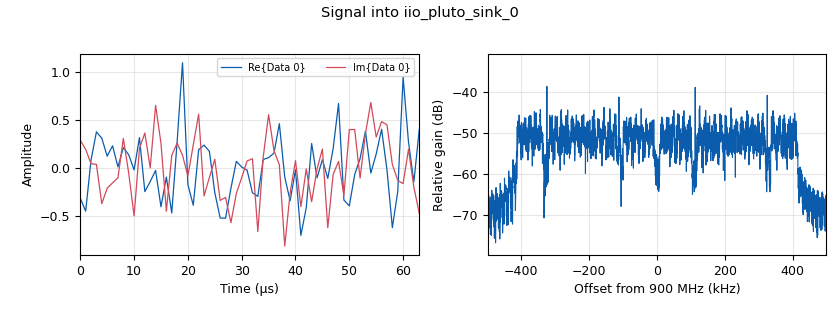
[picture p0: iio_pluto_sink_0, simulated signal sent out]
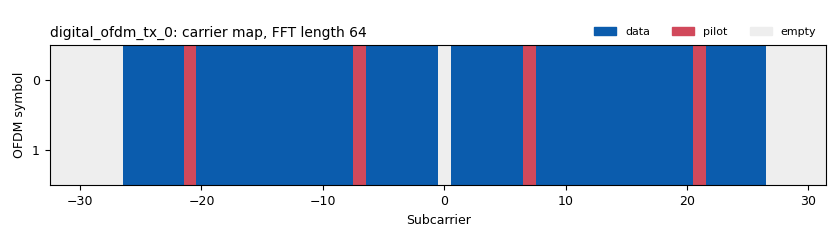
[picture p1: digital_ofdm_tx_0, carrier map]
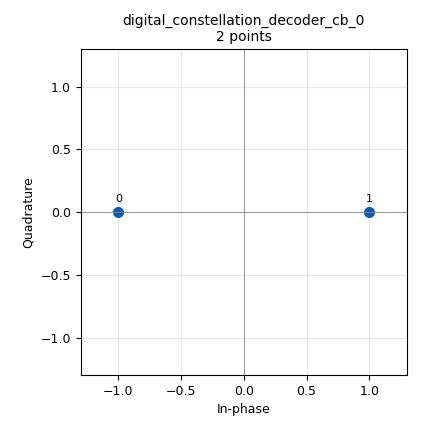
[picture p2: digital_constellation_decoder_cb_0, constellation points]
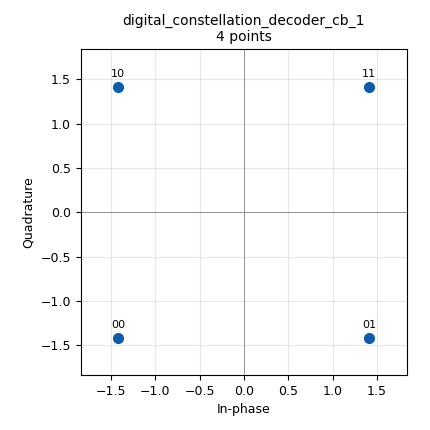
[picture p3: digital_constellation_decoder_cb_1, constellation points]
options:
  parameters:
    category: Custom
    description: Transceiver using the plutoSDR
    generate_options: qt_gui
    id: rx_ofdm
    output_language: python
    title: OFDM Transceiver
  states: {}

blocks:
- name: active_subcarriers
  id: variable
  parameters:
    value: (list(range(-26, 0)) + list(range(1, 27)) ,)
  states: {}
- name: apply_comp
  id: variable_qtgui_check_box
  parameters:
    'false': '0'
    gui_hint: 11,4,1,2
    label: Apply Pilot Comp?
    'true': '1'
    type: int
    value: '1'
  states: {}
- name: apply_comp
  id: variable
  parameters:
    value: '1'
  states: {state: disabled}
- name: apply_comp_f
  id: variable_qtgui_check_box
  parameters:
    'false': '0'
    gui_hint: 11,6,1,2
    label: Apply Freq Comp?
    'true': '1'
    type: int
    value: '1'
  states: {}
- name: cp_delay
  id: variable_qtgui_range
  parameters:
    gui_hint: 12,4,1,4
    label: CP Delay (samples)
    orient: Qt.Horizontal
    start: '0'
    step: '1'
    stop: '3'
    value: '0'
  states: {}
- name: fft_len
  id: variable
  parameters:
    value: '64'
  states: {}
- name: fo
  id: variable_qtgui_range
  parameters:
    gui_hint: 14,0,1,8
    label: Frequency Offset (Hz)
    orient: Qt.Horizontal
    start: '-100e3'
    step: '1'
    stop: 100e3
    value: '0'
  states: {}
- name: freqc
  id: variable
  parameters:
    value: 900e6
  states: {}
- name: header_equalizer
  id: variable
  parameters:
    value: digital.ofdm_equalizer_static(fft_len,  occupied_carriers, pilot_carriers, pilot_symbols,0,True)
  states: {}
- name: header_formatter
  id: variable
  parameters:
    value: digital.packet_header_ofdm(occupied_carriers, n_syms=1, len_tag_key=packet_length_tag_key, frame_len_tag_key=length_tag_key, bits_per_header_sym=header_mod.bits_per_symbol(), bits_per_payload_sym=payload_mod.bits_per_symbol(), scramble_header=False)
  states: {}
- name: header_mod
  id: variable
  parameters:
    value: digital.constellation_bpsk()
  states: {}
- name: length_tag_key
  id: variable
  parameters:
    value: '"frame_len"'
  states: {}
- name: mp_delay
  id: variable_qtgui_range
  parameters:
    gui_hint: 13,4,1,4
    label: Multipath Delay (Samples)
    orient: Qt.Horizontal
    start: '0'
    step: '1'
    stop: '32'
    value: '0'
  states: {}
- name: mp_gain
  id: variable_qtgui_range
  parameters:
    gui_hint: 13,0,1,4
    label: Multipath Gain
    orient: Qt.Horizontal
    start: '0'
    step: '0.001'
    stop: '1'
    value: '0'
  states: {}
- name: num_syms
  id: variable_qtgui_range
  parameters:
    gui_hint: 11,0,1,4
    label: '# of Symbols per Pkt'
    orient: Qt.Horizontal
    start: '1'
    step: '1'
    stop: '40'
    value: '20'
  states: {}
- name: occupied_carriers
  id: variable
  parameters:
    value: (list(range(-26, -21)) + list(range(-20, -7)) + list(range(-6, 0)) + list(range(1, 7)) + list(range(8, 21)) + list(range(22, 27)),)
  states: {}
- name: offset
  id: variable
  parameters:
    value: '8'
  states: {}
- name: packet_len
  id: variable
  parameters:
    value: int(96/8 * num_syms)
  states: {}
- name: packet_length_tag_key
  id: variable
  parameters:
    value: '"packet_len"'
  states: {}
- name: payload_equalizer
  id: variable
  parameters:
    value: digital.ofdm_equalizer_static(fft_len,  active_subcarriers, pilot_carriers_0, pilot_symbols_0,0,True)
  states: {}
- name: payload_mod
  id: variable
  parameters:
    value: digital.constellation_qpsk()
  states: {}
- name: pilot_carriers
  id: variable
  parameters:
    value: ((-21, -7, 7, 21,),)
  states: {}
- name: pilot_carriers_0
  id: variable
  parameters:
    value: ((0,),)
  states: {}
- name: pilot_symbols
  id: variable
  parameters:
    value: ((1, 1, 1, -1,),)
  states: {}
- name: pilot_symbols_0
  id: variable
  parameters:
    value: ((0,),)
  states: {}
- name: rx_gain
  id: variable_qtgui_range
  parameters:
    gui_hint: 0,0,1,8
    label: RX Gain
    orient: Qt.Horizontal
    start: '0'
    step: '1'
    stop: '64'
    value: '30'
  states: {}
- name: samp_rate
  id: variable
  parameters:
    value: 1e6
  states: {}
- name: sc_select
  id: variable_qtgui_range
  parameters:
    gui_hint: 12,0,1,4
    label: Sub Carrier Select
    orient: Qt.Horizontal
    start: '0'
    step: '1'
    stop: fft_len-1
    value: '0'
  states: {}
- name: sync_word1
  id: variable
  parameters:
    value: '[0., 0., 0., 0., 0., 0., 0., 1.41421356, 0., -1.41421356, 0., 1.41421356, 0., -1.41421356, 0., -1.41421356, 0., -1.41421356, 0., 1.41421356, 0., -1.41421356, 0., 1.41421356, 0., -1.41421356, 0., -1.41421356, 0., -1.41421356, 0., -1.41421356, 0., 1.41421356, 0., -1.41421356, 0., 1.41421356, 0., 1.41421356, 0., 1.41421356, 0., -1.41421356, 0., 1.41421356, 0., 1.41421356, 0., 1.41421356, 0., -1.41421356, 0., 1.41421356, 0., 1.41421356, 0., 1.41421356, 0., 0., 0., 0., 0., 0.]'
  states: {}
- name: sync_word2
  id: variable
  parameters:
    value: '[0j, 0j, 0j, 0j, 0j, 0j, (-1+0j), (-1+0j), (-1+0j), (-1+0j), (1+0j), (1+0j), (-1+0j), (-1+0j), (-1+0j), (1+0j), (-1+0j), (1+0j), (1+0j), (1 +0j), (1+0j), (1+0j), (-1+0j), (-1+0j), (-1+0j), (-1+0j), (-1+0j), (1+0j), (-1+0j), (-1+0j), (1+0j), (-1+0j), 0j, (1+0j), (-1+0j), (1+0j), (1+0j), (1+0j), (-1+0j), (1+0j), (1+0j), (1+0j), (-1+0j), (1+0j), (1+0j), (1+0j), (1+0j), (-1+0j), (1+0j), (-1+0j), (-1+0j), (-1+0j), (1+0j), (-1+0j), (1+0j), (-1+0j), (-1+0j), (-1+0j), (-1+0j), 0j, 0j, 0j, 0j, 0j]'
  states: {}
- name: tx_amp
  id: variable_qtgui_range
  parameters:
    gui_hint: 1,0,1,8
    label: TX Amplitude
    orient: Qt.Horizontal
    start: '0.001'
    step: '.001'
    stop: '0.1'
    value: '0.034'
  states: {}
- name: analog_frequency_modulator_fc_0
  id: analog_frequency_modulator_fc
  parameters:
    sensitivity: '-2.0/fft_len'
  states: {}
- name: analog_random_source_x_0
  id: analog_random_source_x
  parameters:
    max: '255'
    min: '0'
    num_samps: '1000'
    repeat: 'True'
    type: byte
  states: {}
- name: analog_sig_source_x_0
  id: analog_sig_source_x
  parameters:
    amp: '1'
    freq: fo
    offset: '0'
    phase: '0'
    samp_rate: samp_rate
    type: complex
    waveform: analog.GR_COS_WAVE
  states: {}
- name: blocks_add_xx_0
  id: blocks_add_xx
  parameters:
    type: complex
  states: {}
- name: blocks_delay_0
  id: blocks_delay
  parameters:
    delay: fft_len+fft_len//4
    type: complex
  states: {}
- name: blocks_delay_1
  id: blocks_delay
  parameters:
    delay: cp_delay
    type: complex
  states: {}
- name: blocks_delay_2
  id: blocks_delay
  parameters:
    delay: mp_delay
    type: complex
  states: {}
- name: blocks_keep_m_in_n_0
  id: blocks_keep_m_in_n
  parameters:
    m: '1'
    n: fft_len
    offset: sc_select
    type: complex
  states: {}
- name: blocks_multiply_const_vxx_0
  id: blocks_multiply_const_vxx
  parameters:
    const: tx_amp
    type: complex
  states: {}
- name: blocks_multiply_const_vxx_1
  id: blocks_multiply_const_vxx
  parameters:
    const: mp_gain
    type: complex
  states: {}
- name: blocks_multiply_const_vxx_2
  id: blocks_multiply_const_vxx
  parameters:
    const: apply_comp_f
    type: float
  states: {}
- name: blocks_multiply_xx_0
  id: blocks_multiply_xx
  parameters:
    type: complex
  states: {}
- name: blocks_multiply_xx_1
  id: blocks_multiply_xx
  parameters:
    type: complex
  states: {}
- name: blocks_repack_bits_bb_0
  id: blocks_repack_bits_bb
  parameters:
    align_output: 'True'
    endianness: gr.GR_LSB_FIRST
    k: payload_mod.bits_per_symbol()
    l: '8'
    len_tag_key: packet_length_tag_key
  states: {}
- name: blocks_stream_to_tagged_stream_0
  id: blocks_stream_to_tagged_stream
  parameters:
    len_tag_key: packet_length_tag_key
    packet_len: packet_len
    type: byte
  states: {}
- name: blocks_stream_to_vector_0
  id: blocks_stream_to_vector
  parameters:
    num_items: '64'
    type: complex
  states: {}
- name: blocks_stream_to_vector_1
  id: blocks_stream_to_vector
  parameters:
    num_items: fft_len
    type: complex
  states: {}
- name: blocks_tag_debug_1
  id: blocks_tag_debug
  parameters:
    display: 'False'
    name: Rx Bytes
    type: byte
  states: {}
- name: blocks_vector_to_stream_0_0
  id: blocks_vector_to_stream
  parameters:
    num_items: '64'
    type: complex
  states: {}
- name: blocks_vector_to_stream_0_0_1
  id: blocks_vector_to_stream
  parameters:
    num_items: '64'
    type: complex
  states: {}
- name: blocks_vector_to_stream_0_0_1_0
  id: blocks_vector_to_stream
  parameters:
    num_items: '64'
    type: complex
  states: {}
- name: digital_constellation_decoder_cb_0
  id: digital_constellation_decoder_cb
  parameters:
    constellation: header_mod.base()
  states: {}
- name: digital_constellation_decoder_cb_1
  id: digital_constellation_decoder_cb
  parameters:
    constellation: payload_mod.base()
  states: {}
- name: digital_crc32_bb_0
  id: digital_crc32_bb
  parameters:
    check: 'True'
    lengthtagname: packet_length_tag_key
    packed: 'True'
  states: {}
- name: digital_header_payload_demux_0
  id: digital_header_payload_demux
  parameters:
    guard_interval: fft_len//4
    header_len: '3'
    header_padding: '0'
    items_per_symbol: fft_len
    length_tag_key: length_tag_key
    output_symbols: 'True'
    samp_rate: int(samp_rate)
    special_tags: ()
    timing_tag_key: '"rx_time"'
    type: complex
  states: {}
- name: digital_ofdm_chanest_vcvc_0
  id: digital_ofdm_chanest_vcvc
  parameters:
    force_one_symbol: 'False'
    max_carr_offset: '3'
    n_data_symbols: '1'
    sync_symbol1: sync_word1
    sync_symbol2: sync_word2
  states: {}
- name: digital_ofdm_frame_equalizer_vcvc_0
  id: digital_ofdm_frame_equalizer_vcvc
  parameters:
    cp_len: fft_len//4
    equalizer: header_equalizer.base()
    fft_len: fft_len
    fixed_frame_len: '1'
    len_tag_key: length_tag_key
    propagate_channel_state: 'True'
  states: {}
- name: digital_ofdm_frame_equalizer_vcvc_1
  id: digital_ofdm_frame_equalizer_vcvc
  parameters:
    cp_len: fft_len//4
    equalizer: payload_equalizer.base()
    fft_len: fft_len
    len_tag_key: length_tag_key
    propagate_channel_state: 'True'
  states: {}
- name: digital_ofdm_serializer_vcc_header
  id: digital_ofdm_serializer_vcc
  parameters:
    carr_offset_key: ''
    fft_len: fft_len
    len_tag_key: length_tag_key
    occupied_carriers: occupied_carriers
    packet_len_tag_key: ''
  states: {}
- name: digital_ofdm_serializer_vcc_payload
  id: digital_ofdm_serializer_vcc
  parameters:
    carr_offset_key: ''
    fft_len: fft_len
    len_tag_key: length_tag_key
    occupied_carriers: occupied_carriers
    packet_len_tag_key: packet_length_tag_key
  states: {}
- name: digital_ofdm_sync_sc_cfb_0
  id: digital_ofdm_sync_sc_cfb
  parameters:
    cp_len: fft_len//4
    fft_len: fft_len
    threshold: '0.9'
  states: {}
- name: digital_ofdm_tx_0
  id: digital_ofdm_tx
  parameters:
    cp_len: fft_len//4
    fft_len: fft_len
    header_mod: '"BPSK"'
    occupied_carriers: occupied_carriers
    packet_len_key: packet_length_tag_key
    payload_mod: '"QPSK"'
    pilot_carriers: pilot_carriers
    pilot_symbols: pilot_symbols
    rolloff: '0'
    sync_word1: sync_word1
    sync_word2: sync_word2
  states: {}
- name: digital_packet_headerparser_b_0
  id: digital_packet_headerparser_b
  parameters:
    header_formatter: header_formatter.base()
  states: {}
- name: fft_vxx_0
  id: fft_vxx
  parameters:
    fft_size: fft_len
    forward: 'True'
    shift: 'True'
    type: complex
    window: ()
  states: {}
- name: fft_vxx_1
  id: fft_vxx
  parameters:
    fft_size: fft_len
    forward: 'True'
    shift: 'True'
    type: complex
    window: ()
  states: {}
- name: iio_pluto_sink_0
  id: iio_pluto_sink
  parameters:
    attenuation1: '10.0'
    auto_filter: 'True'
    bandwidth: '20000000'
    buffer_size: '32768'
    cyclic: 'False'
    frequency: int(freqc)
    samplerate: int(samp_rate)
    uri: usb:1.3.5
  states: {}
- name: iio_pluto_source_0
  id: iio_pluto_source
  parameters:
    auto_filter: 'True'
    bandwidth: '20000000'
    bbdc: 'True'
    buffer_size: '32768'
    frequency: int(freqc)
    gain1: '''manual'''
    manual_gain1: rx_gain
    quadrature: 'True'
    rfdc: 'True'
    samplerate: int(samp_rate)
    uri: usb:1.4.5
  states: {}
- name: import_1
  id: import
  parameters:
    imports: from gnuradio.digital.utils import tagged_streams
  states: {}
- name: ofdm_pilot_comp_cc_0
  id: ofdm_pilot_comp_cc
  parameters:
    apply_comp: apply_comp
    fft_len: fft_len
    num_syms: '16'
  states: {}
- name: qtgui_const_sink_x_0
  id: qtgui_const_sink_x
  parameters:
    grid: 'True'
    gui_hint: tab_const@2
    size: '1024'
    type: complex
    xmax: '2.5'
    xmin: '-2.5'
    ymax: '2.5'
    ymin: '-2.5'
  states: {}
- name: qtgui_const_sink_x_0_0
  id: qtgui_const_sink_x
  parameters:
    grid: 'True'
    gui_hint: tab_const@0
    size: '1024'
    tr_tag: ''
    type: complex
    xmax: '2.5'
    xmin: '-2.5'
    ymax: '2.5'
    ymin: '-2.5'
  states: {}
- name: qtgui_const_sink_x_0_1
  id: qtgui_const_sink_x
  parameters:
    grid: 'True'
    gui_hint: tab_const@1
    size: '1024'
    type: complex
    xmax: '2.5'
    xmin: '-2.5'
    ymax: '2.5'
    ymin: '-2.5'
  states: {}
- name: qtgui_freq_sink_x_0
  id: qtgui_freq_sink_x
  parameters:
    average: '0.1'
    bw: samp_rate
    ctrlpanel: 'True'
    fc: freqc
    fftsize: fft_len
    grid: 'True'
    gui_hint: 2,4,8,4
    name: '"Channel Response"'
    type: complex
    width1: '2'
    wintype: firdes.WIN_BLACKMAN_hARRIS
    ymax: '0'
    ymin: '-100'
  states: {}
- name: tab_const
  id: qtgui_tab_widget
  parameters:
    gui_hint: 2,0,8,4
    label0: Pre-Equalization (Single-Subcarrier)
    label1: Pre-Equalization (All Subcarriers)
    label2: Post-Equalization (All Subcarriers)
    num_tabs: '3'
  states: {}
- name: virtual_sink_0
  id: virtual_sink
  parameters:
    stream_id: Header Stream
  states: {}
- name: virtual_sink_1
  id: virtual_sink
  parameters:
    stream_id: Payload Stream
  states: {}
- name: virtual_sink_1_0
  id: virtual_sink
  parameters:
    stream_id: Payload IQ
  states: {}
- name: virtual_source_0
  id: virtual_source
  parameters:
    stream_id: Header Stream
  states: {}
- name: virtual_source_0_0
  id: virtual_source
  parameters:
    stream_id: Payload IQ
  states: {}
- name: virtual_source_1
  id: virtual_source
  parameters:
    stream_id: Payload Stream
  states: {}

connections:
- [analog_frequency_modulator_fc_0, '0', blocks_multiply_xx_0, '0']
- [analog_random_source_x_0, '0', blocks_stream_to_tagged_stream_0, '0']
- [analog_sig_source_x_0, '0', blocks_multiply_xx_1, '1']
- [blocks_add_xx_0, '0', blocks_multiply_xx_1, '0']
- [blocks_delay_0, '0', blocks_multiply_xx_0, '1']
- [blocks_delay_1, '0', blocks_stream_to_vector_0, '0']
- [blocks_delay_2, '0', blocks_multiply_const_vxx_1, '0']
- [blocks_keep_m_in_n_0, '0', qtgui_const_sink_x_0_0, '0']
- [blocks_multiply_const_vxx_0, '0', iio_pluto_sink_0, '0']
- [blocks_multiply_const_vxx_1, '0', blocks_add_xx_0, '1']
- [blocks_multiply_const_vxx_2, '0', analog_frequency_modulator_fc_0, '0']
- [blocks_multiply_xx_0, '0', digital_header_payload_demux_0, '0']
- [blocks_multiply_xx_1, '0', blocks_delay_0, '0']
- [blocks_multiply_xx_1, '0', digital_ofdm_sync_sc_cfb_0, '0']
- [blocks_repack_bits_bb_0, '0', digital_crc32_bb_0, '0']
- [blocks_stream_to_tagged_stream_0, '0', digital_ofdm_tx_0, '0']
- [blocks_stream_to_vector_0, '0', fft_vxx_1, '0']
- [blocks_stream_to_vector_1, '0', digital_ofdm_serializer_vcc_payload, '0']
- [blocks_vector_to_stream_0_0, '0', blocks_delay_1, '0']
- [blocks_vector_to_stream_0_0, '0', qtgui_freq_sink_x_0, '0']
- [blocks_vector_to_stream_0_0_1, '0', blocks_keep_m_in_n_0, '0']
- [blocks_vector_to_stream_0_0_1_0, '0', ofdm_pilot_comp_cc_0, '0']
- [digital_constellation_decoder_cb_0, '0', digital_packet_headerparser_b_0, '0']
- [digital_constellation_decoder_cb_1, '0', blocks_repack_bits_bb_0, '0']
- [digital_crc32_bb_0, '0', blocks_tag_debug_1, '0']
- [digital_header_payload_demux_0, '0', virtual_sink_0, '0']
- [digital_header_payload_demux_0, '1', virtual_sink_1, '0']
- [digital_ofdm_chanest_vcvc_0, '0', digital_ofdm_frame_equalizer_vcvc_0, '0']
- [digital_ofdm_frame_equalizer_vcvc_0, '0', digital_ofdm_serializer_vcc_header, '0']
- [digital_ofdm_frame_equalizer_vcvc_1, '0', blocks_vector_to_stream_0_0_1_0, '0']
- [digital_ofdm_serializer_vcc_header, '0', digital_constellation_decoder_cb_0, '0']
- [digital_ofdm_serializer_vcc_payload, '0', qtgui_const_sink_x_0, '0']
- [digital_ofdm_serializer_vcc_payload, '0', virtual_sink_1_0, '0']
- [digital_ofdm_sync_sc_cfb_0, '0', blocks_multiply_const_vxx_2, '0']
- [digital_ofdm_sync_sc_cfb_0, '1', digital_header_payload_demux_0, '1']
- [digital_ofdm_tx_0, '0', blocks_multiply_const_vxx_0, '0']
- [digital_packet_headerparser_b_0, header_data, digital_header_payload_demux_0, header_data]
- [fft_vxx_0, '0', digital_ofdm_chanest_vcvc_0, '0']
- [fft_vxx_1, '0', blocks_vector_to_stream_0_0_1, '0']
- [fft_vxx_1, '0', digital_ofdm_frame_equalizer_vcvc_1, '0']
- [iio_pluto_source_0, '0', blocks_add_xx_0, '0']
- [iio_pluto_source_0, '0', blocks_delay_2, '0']
- [ofdm_pilot_comp_cc_0, '0', blocks_stream_to_vector_1, '0']
- [ofdm_pilot_comp_cc_0, '0', qtgui_const_sink_x_0_1, '0']
- [virtual_source_0, '0', fft_vxx_0, '0']
- [virtual_source_0_0, '0', digital_constellation_decoder_cb_1, '0']
- [virtual_source_1, '0', blocks_vector_to_stream_0_0, '0']

metadata:
  file_format: 1
